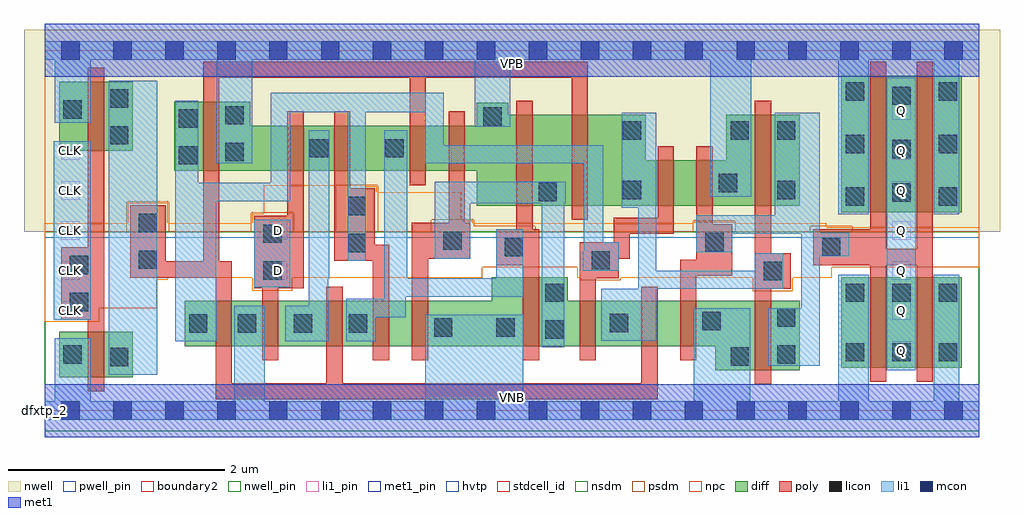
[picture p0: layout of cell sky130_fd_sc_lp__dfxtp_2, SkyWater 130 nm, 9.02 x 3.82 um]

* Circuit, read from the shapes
.subckt sky130_fd_sc_lp__dfxtp_2 CLK D Q VGND VNB VPB VPWR
XM1 n1 CLK VGND VNB sky130_fd_pr__nfet_01v8 w=0.42 l=0.15
XM2 VGND n1 n2 VNB sky130_fd_pr__nfet_01v8 w=0.42 l=0.15
XM3 n3 D VGND VNB sky130_fd_pr__nfet_01v8 w=0.42 l=0.15
XM4 n4 n1 n3 VNB sky130_fd_pr__nfet_01v8 w=0.42 l=0.15
XM5 n5 n2 n4 VNB sky130_fd_pr__nfet_01v8 w=0.42 l=0.15
XM6 VGND n6 n5 VNB sky130_fd_pr__nfet_01v8 w=0.42 l=0.15
XM7 n6 n4 VGND VNB sky130_fd_pr__nfet_01v8 w=0.64 l=0.15
XM8 n7 n2 n6 VNB sky130_fd_pr__nfet_01v8 w=0.42 l=0.15
XM9 n8 n1 n7 VNB sky130_fd_pr__nfet_01v8 w=0.42 l=0.15
XM10 VGND n9 n8 VNB sky130_fd_pr__nfet_01v8 w=0.42 l=0.15
XM11 n9 n7 VGND VNB sky130_fd_pr__nfet_01v8 w=0.64 l=0.15
XM12 Q n9 VGND VNB sky130_fd_pr__nfet_01v8 w=0.84 l=0.15 m=2
XM13 n1 CLK VPWR VPB sky130_fd_pr__pfet_01v8_hvt w=0.64 l=0.15
XM14 VPWR n1 n2 VPB sky130_fd_pr__pfet_01v8_hvt w=0.64 l=0.15
XM15 n3 D VPWR VPB sky130_fd_pr__pfet_01v8_hvt w=0.42 l=0.15
XM16 n4 n2 n3 VPB sky130_fd_pr__pfet_01v8_hvt w=0.42 l=0.15
XM17 n10 n1 n4 VPB sky130_fd_pr__pfet_01v8_hvt w=0.42 l=0.15
XM18 VPWR n6 n10 VPB sky130_fd_pr__pfet_01v8_hvt w=0.42 l=0.15
XM19 n6 n4 VPWR VPB sky130_fd_pr__pfet_01v8_hvt w=0.84 l=0.15
XM20 n7 n1 n6 VPB sky130_fd_pr__pfet_01v8_hvt w=0.84 l=0.15
XM21 n11 n2 n7 VPB sky130_fd_pr__pfet_01v8_hvt w=0.42 l=0.15
XM22 VPWR n9 n11 VPB sky130_fd_pr__pfet_01v8_hvt w=0.42 l=0.15
XM23 n9 n7 VPWR VPB sky130_fd_pr__pfet_01v8_hvt w=0.84 l=0.15
XM24 Q n9 VPWR VPB sky130_fd_pr__pfet_01v8_hvt w=1.26 l=0.15 m=2
.ends

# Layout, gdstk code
import gdstk
lib = gdstk.Library(unit=1e-6, precision=1e-09)
def R(c, l, rs):  # rectangles x0, y0, x1, y1
    for r in rs: c.add(gdstk.rectangle(r[:2], r[2:], *l))
def A(c, l, x, y, w, h, nx, ny, dx, dy):  # array of equal rectangles
    R(c, l, [(x+i*dx, y+j*dy, x+i*dx+w, y+j*dy+h) for i in range(nx) for j in range(ny)])
def P(c, l, *ps):  # polygons
    for p in ps: c.add(gdstk.Polygon(p, *l))
nwell_pin = (64, 16)
nwell = (64, 20)
diff = (65, 20)
poly = (66, 20)
licon = (66, 44)
li1_pin = (67, 16)
li1 = (67, 20)
mcon = (67, 44)
met1_pin = (68, 16)
met1 = (68, 20)
hvtp = (78, 44)
stdcell_id = (81, 4)
nsdm = (93, 44)
psdm = (94, 20)
npc = (95, 20)
pwell_pin = (122, 16)
boundary2 = (236, 0)

sky130_fd_sc_lp__dfxtp_2 = lib.new_cell('sky130_fd_sc_lp__dfxtp_2')
R(sky130_fd_sc_lp__dfxtp_2, nwell_pin, [(0,3.085,8.64,3.33)])
R(sky130_fd_sc_lp__dfxtp_2, nwell, [(-0.19,1.655,8.83,3.52)])
R(sky130_fd_sc_lp__dfxtp_2, diff, [(0.135,0.31,0.815,0.73), (7.365,0.395,8.475,1.235), (7.365,1.835,8.475,3.095), (0.135,2.4,0.815,3.04)])
P(sky130_fd_sc_lp__dfxtp_2, diff, [(6.98,2.735),(6.3,2.735),(6.3,2.315),(5.555,2.315),(5.555,2.735),(4.285,2.735),(4.285,2.845),(3.995,2.845),(3.995,2.635),(1.9,2.635),(1.9,2.855),(1.2,2.855),(1.2,2.215),(3.995,2.215),(3.995,1.895),(6.98,1.895)],
  [(6.98,1.015),(4.835,1.015),(4.835,1.235),(4.135,1.235),(4.135,1.015),(1.295,1.015),(1.295,0.595),(6.2,0.595),(6.2,0.375),(6.98,0.375)])
P(sky130_fd_sc_lp__dfxtp_2, poly, [(0.55,3.17),(0.4,3.17),(0.4,1.51),(0.155,1.51),(0.155,0.84),(0.4,0.84),(0.4,0.18),(0.55,0.18)],
  [(2.395,2.765),(2.245,2.765),(2.245,1.8),(1.94,1.8),(1.94,1.13),(2.01,1.13),(2.01,0.465),(2.16,0.465),(2.16,1.13),(2.395,1.13)],
  [(3.185,1.535),(3.05,1.535),(3.05,2.055),(2.825,2.055),(2.825,2.765),(2.675,2.765),(2.675,1.385),(3.035,1.385),(3.035,0.465),(3.185,0.465)],
  [(3.935,1.735),(3.885,1.735),(3.885,2.765),(3.735,2.765),(3.735,1.735),(3.395,1.735),(3.395,0.465),(3.545,0.465),(3.545,1.405),(3.935,1.405)],
  [(4.57,1.675),(4.51,1.675),(4.51,2.865),(4.36,2.865),(4.36,1.675),(4.175,1.675),(4.175,1.345),(4.42,1.345),(4.42,0.465),(4.57,0.465)],
  [(5.665,1.145),(5.515,1.145),(5.515,0.255),(2.755,0.255),(2.755,1.145),(2.605,1.145),(2.605,0.255),(1.73,0.255),(1.73,1.38),(1.615,1.38),(1.615,3.075),(3.375,3.075),(3.375,2.085),(3.525,2.085),(3.525,3.075),(4.87,3.075),(4.87,1.765),(5.02,1.765),(5.02,3.225),(1.465,3.225),(1.465,1.38),(1.12,1.38),(1.12,1.9),(0.79,1.9),(0.79,1.23),(1.58,1.23),(1.58,0.105),(5.665,0.105)],
  [(5.815,2.445),(5.665,2.445),(5.665,1.785),(5.26,1.785),(5.26,1.555),(4.945,1.555),(4.945,0.465),(5.095,0.465),(5.095,1.225),(5.305,1.225),(5.305,1.405),(5.41,1.405),(5.41,1.635),(5.815,1.635)],
  [(6.355,1.725),(6.175,1.725),(6.175,2.445),(6.025,2.445),(6.025,1.395),(5.875,1.395),(5.875,0.465),(6.025,0.465),(6.025,1.245),(6.355,1.245)],
  [(6.895,1.455),(6.715,1.455),(6.715,2.865),(6.565,2.865),(6.565,0.245),(6.715,0.245),(6.715,1.125),(6.895,1.125)],
  [(8.21,3.225),(8.06,3.225),(8.06,1.495),(7.78,1.495),(7.78,3.225),(7.63,3.225),(7.63,1.675),(7.105,1.675),(7.105,1.345),(7.63,1.345),(7.63,0.265),(7.78,0.265),(7.78,1.345),(8.06,1.345),(8.06,0.265),(8.21,0.265)])
A(sky130_fd_sc_lp__dfxtp_2, licon, 7.405, 0.455, 0.17, 0.17, 3, 2, 0.43, 0.55)
A(sky130_fd_sc_lp__dfxtp_2, licon, 7.405, 1.895, 0.17, 0.17, 1, 3, 0, 0.485)
A(sky130_fd_sc_lp__dfxtp_2, licon, 8.265, 1.895, 0.17, 0.17, 1, 3, 0, 0.485)
R(sky130_fd_sc_lp__dfxtp_2, licon, [(0.605,0.41,0.775,0.58), (6.34,0.415,6.51,0.585), (0.175,0.435,0.345,0.605), (6.77,0.435,6.94,0.605), (4.625,0.665,4.795,0.835), (3.6,0.685,3.77,0.855), (4.175,0.685,4.345,0.855), (1.335,0.72,1.505,0.89), (1.785,0.72,1.955,0.89), (2.305,0.72,2.475,0.89), (2.81,0.72,2.98,0.89), (5.225,0.725,5.395,0.895), (6.08,0.745,6.25,0.915), (6.77,0.775,6.94,0.945), (0.235,0.92,0.405,1.09), (4.625,1.005,4.795,1.175), (6.645,1.205,6.815,1.375), (2.02,1.21,2.19,1.38), (0.235,1.26,0.405,1.43), (5.055,1.305,5.225,1.475), (0.87,1.31,1.04,1.48), (4.255,1.425,4.425,1.595), (7.185,1.425,7.355,1.595), (2.8,1.465,2.97,1.635), (6.105,1.475,6.275,1.645), (3.685,1.485,3.855,1.655), (2.02,1.55,2.19,1.72), (0.87,1.65,1.04,1.82), (2.8,1.805,2.97,1.975), (7.835,1.93,8.005,2.1), (4.565,1.935,4.735,2.105), (5.345,1.955,5.515,2.125), (6.77,1.955,6.94,2.125), (6.23,2.02,6.4,2.19), (1.24,2.275,1.41,2.445), (1.67,2.305,1.84,2.475), (7.835,2.335,8.005,2.505), (2.45,2.34,2.62,2.51), (3.15,2.34,3.32,2.51), (0.605,2.46,0.775,2.63), (5.345,2.505,5.515,2.675), (6.34,2.505,6.51,2.675), (6.77,2.505,6.94,2.675), (1.24,2.615,1.41,2.785), (4.055,2.635,4.225,2.805), (1.67,2.645,1.84,2.815), (0.175,2.7,0.345,2.87), (0.605,2.8,0.775,2.97), (7.835,2.825,8.005,2.995)])
A(sky130_fd_sc_lp__dfxtp_2, li1_pin, 7.835, 0.47, 0.17, 0.17, 1, 7, 0, 0.37)
A(sky130_fd_sc_lp__dfxtp_2, li1_pin, 0.155, 0.84, 0.17, 0.17, 1, 5, 0, 0.37)
R(sky130_fd_sc_lp__dfxtp_2, li1_pin, [(2.075,1.21,2.245,1.38), (2.075,1.58,2.245,1.75)])
R(sky130_fd_sc_lp__dfxtp_2, li1, [(0.595,0.33,1.04,3.05), (7.785,0.375,8.05,3.075), (0.085,0.84,0.425,2.49), (1.94,1.14,2.27,1.765)])
P(sky130_fd_sc_lp__dfxtp_2, li1, [(8.64,0.085),(8.455,0.085),(8.455,1.255),(8.22,1.255),(8.22,0.085),(7.615,0.085),(7.615,1.255),(7.335,1.255),(7.335,0.085),(6.52,0.085),(6.52,0.945),(6,0.945),(6,0.085),(4.425,0.085),(4.425,0.885),(3.52,0.885),(3.52,0.085),(2.035,0.085),(2.035,0.97),(1.755,0.97),(1.755,0.085),(0.425,0.085),(0.425,0.67),(0.095,0.67),(0.095,0.085),(0,0.085),(0,-0.085),(8.64,-0.085)],
  [(2.63,2.59),(2.44,2.59),(2.44,0.97),(2.225,0.97),(2.225,0.64),(2.62,0.64),(2.62,1.22),(2.63,1.22)],
  [(4.425,1.675),(4.175,1.675),(4.175,1.225),(3.35,1.225),(3.35,2.59),(3.14,2.59),(3.14,1.035),(2.79,1.035),(2.79,0.64),(3.06,0.64),(3.06,0.865),(3.34,0.865),(3.34,1.055),(4.425,1.055)],
  [(7.435,1.645),(7.165,1.645),(7.165,2.755),(6.75,2.755),(6.75,1.805),(6.025,1.805),(6.025,1.465),(6.355,1.465),(6.355,1.635),(6.995,1.635),(6.995,0.945),(6.69,0.945),(6.69,0.415),(7.165,0.415),(7.165,1.425),(7.435,1.425)],
  [(5.305,1.555),(5.165,1.555),(5.165,2.455),(3.69,2.455),(3.69,2.94),(2.09,2.94),(2.09,2.105),(1.42,2.105),(1.42,2.865),(1.21,2.865),(1.21,0.64),(1.585,0.64),(1.585,1.935),(2.27,1.935),(2.27,2.76),(2.8,2.76),(2.8,1.385),(2.97,1.385),(2.97,2.76),(3.52,2.76),(3.52,2.285),(4.985,2.285),(4.985,1.475),(4.975,1.475),(4.975,1.295),(5.305,1.295)],
  [(4.815,2.115),(3.605,2.115),(3.605,1.405),(3.935,1.405),(3.935,1.915),(4.595,1.915),(4.595,0.585),(4.805,0.585),(4.805,1.915),(4.815,1.915)],
  [(6.825,1.455),(6.565,1.455),(6.565,1.295),(5.655,1.295),(5.655,2.755),(5.335,2.755),(5.335,1.875),(5.485,1.875),(5.485,1.125),(5.145,1.125),(5.145,0.645),(5.655,0.645),(5.655,1.125),(6.825,1.125)],
  [(8.64,3.415),(0,3.415),(0,3.245),(0.095,3.245),(0.095,2.66),(0.425,2.66),(0.425,3.245),(1.59,3.245),(1.59,2.285),(1.92,2.285),(1.92,3.245),(3.975,3.245),(3.975,2.625),(4.305,2.625),(4.305,3.245),(6.15,3.245),(6.15,1.975),(6.53,1.975),(6.53,3.245),(7.335,3.245),(7.335,1.815),(7.615,1.815),(7.615,3.245),(8.22,3.245),(8.22,1.815),(8.455,1.815),(8.455,3.245),(8.64,3.245)])
A(sky130_fd_sc_lp__dfxtp_2, mcon, 0.155, -0.085, 0.17, 0.17, 18, 2, 0.48, 3.33)
R(sky130_fd_sc_lp__dfxtp_2, met1_pin, [(0,0,8.64,0.245), (0,3.085,8.64,3.33)])
R(sky130_fd_sc_lp__dfxtp_2, met1, [(0,-0.245,8.64,0.245), (0,3.085,8.64,3.575)])
R(sky130_fd_sc_lp__dfxtp_2, hvtp, [(0,1.6,8.64,3.33)])
R(sky130_fd_sc_lp__dfxtp_2, stdcell_id, [(0,0,8.64,3.33)])
R(sky130_fd_sc_lp__dfxtp_2, nsdm, [(0,-0.19,8.64,1.655)])
P(sky130_fd_sc_lp__dfxtp_2, psdm, [(8.64,3.52),(0,3.52),(0,1.655),(0.76,1.655),(0.76,1.93),(1.15,1.93),(1.15,1.655),(1.91,1.655),(1.91,1.83),(2.3,1.83),(2.3,1.655),(2.69,1.655),(2.69,2.085),(3.08,2.085),(3.08,1.655),(3.575,1.655),(3.575,1.765),(3.965,1.765),(3.965,1.705),(4.535,1.705),(4.535,1.655),(5.995,1.655),(5.995,1.755),(6.385,1.755),(6.385,1.655),(7.075,1.655),(7.075,1.705),(7.465,1.705),(7.465,1.655),(8.64,1.655)])
P(sky130_fd_sc_lp__dfxtp_2, npc, [(8.64,1.695),(7.225,1.695),(7.225,1.73),(6.375,1.73),(6.375,1.745),(6.005,1.745),(6.005,1.73),(3.955,1.73),(3.955,1.755),(3.85,1.755),(3.85,2.02),(3.07,2.02),(3.07,2.075),(2.965,2.075),(2.965,2.085),(2.025,2.085),(2.025,1.82),(1.92,1.82),(1.92,1.73),(1.14,1.73),(1.14,1.92),(0.77,1.92),(0.77,1.73),(0,1.73),(0,0.82),(0.505,0.82),(0.505,0.945),(1.035,0.945),(1.035,1.21),(1.14,1.21),(1.14,1.23),(1.92,1.23),(1.92,1.11),(2.29,1.11),(2.29,1.23),(4.045,1.23),(4.045,1.325),(4.925,1.325),(4.925,1.23),(4.955,1.23),(4.955,1.205),(5.325,1.205),(5.325,1.23),(6.545,1.23),(6.545,1.105),(6.915,1.105),(6.915,1.23),(7.275,1.23),(7.275,1.325),(8.64,1.325)])
R(sky130_fd_sc_lp__dfxtp_2, pwell_pin, [(0,0,8.64,0.245)])
R(sky130_fd_sc_lp__dfxtp_2, boundary2, [(0,0,8.64,3.33)])
sky130_fd_sc_lp__dfxtp_2.add(gdstk.Label('VNB', (4.32,0.123), layer=64, texttype=59))
sky130_fd_sc_lp__dfxtp_2.add(gdstk.Label('VPB', (4.32,3.208), layer=64, texttype=5))
sky130_fd_sc_lp__dfxtp_2.add(gdstk.Label('dfxtp_2', (0,0), layer=83, texttype=44))
sky130_fd_sc_lp__dfxtp_2.add(gdstk.Label('VPWR', (4.32,3.208), layer=68, texttype=5))
sky130_fd_sc_lp__dfxtp_2.add(gdstk.Label('VGND', (4.32,0.123), layer=68, texttype=5))
sky130_fd_sc_lp__dfxtp_2.add(gdstk.Label('CLK', (0.24,0.925), layer=67, texttype=5))
sky130_fd_sc_lp__dfxtp_2.add(gdstk.Label('CLK', (0.24,1.295), layer=67, texttype=5))
sky130_fd_sc_lp__dfxtp_2.add(gdstk.Label('CLK', (0.24,1.665), layer=67, texttype=5))
sky130_fd_sc_lp__dfxtp_2.add(gdstk.Label('CLK', (0.24,2.035), layer=67, texttype=5))
sky130_fd_sc_lp__dfxtp_2.add(gdstk.Label('CLK', (0.24,2.405), layer=67, texttype=5))
sky130_fd_sc_lp__dfxtp_2.add(gdstk.Label('D', (2.16,1.295), layer=67, texttype=5))
sky130_fd_sc_lp__dfxtp_2.add(gdstk.Label('D', (2.16,1.665), layer=67, texttype=5))
sky130_fd_sc_lp__dfxtp_2.add(gdstk.Label('Q', (7.92,0.555), layer=67, texttype=5))
sky130_fd_sc_lp__dfxtp_2.add(gdstk.Label('Q', (7.92,0.925), layer=67, texttype=5))
sky130_fd_sc_lp__dfxtp_2.add(gdstk.Label('Q', (7.92,1.295), layer=67, texttype=5))
sky130_fd_sc_lp__dfxtp_2.add(gdstk.Label('Q', (7.92,1.665), layer=67, texttype=5))
sky130_fd_sc_lp__dfxtp_2.add(gdstk.Label('Q', (7.92,2.035), layer=67, texttype=5))
sky130_fd_sc_lp__dfxtp_2.add(gdstk.Label('Q', (7.92,2.405), layer=67, texttype=5))
sky130_fd_sc_lp__dfxtp_2.add(gdstk.Label('Q', (7.92,2.775), layer=67, texttype=5))

lib.write_gds('sky130_fd_sc_lp__dfxtp_2.gds')
